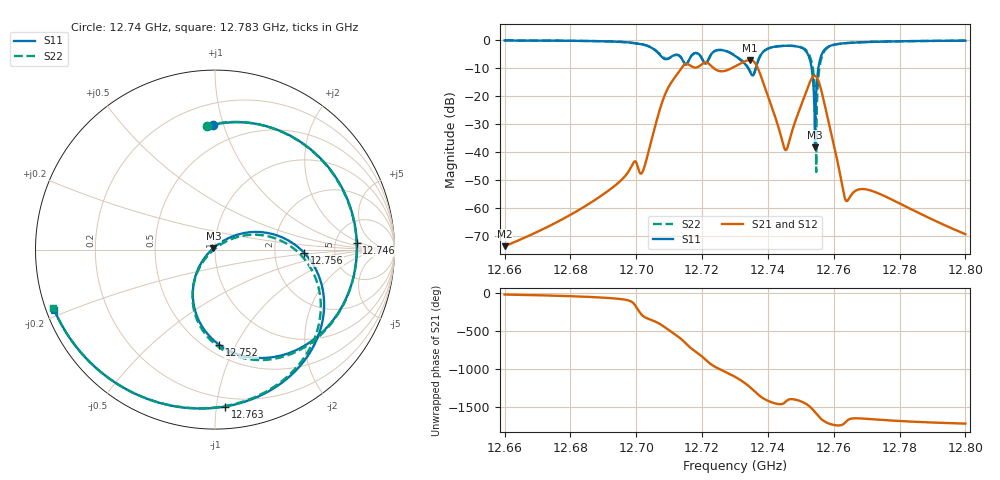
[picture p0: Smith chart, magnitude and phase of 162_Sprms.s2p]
! TOUCHSTONE file generated by CST MICROWAVE STUDIO
! Date and time: Wed Jul 31 19:02:27 2024
! Project name: WaveGuide_BPF-Ver4.1_U-shape_Ku_T3_C4_CWA_2.cst
! Parameters = {cavity_h=16; cavity_l0=10; cavity_l1=15.1788; cavity_l2=16.8468; cavity_l3=17.0992; cavity_l4=17.2289; cavity_l5=17.1523; cavity_l6=17.6355; cavity_r=2.5; cavity_screw_l=0.5; cavity_screw_r=1.5; cavity_w=8; iris_h00=0; iris_h01=8.8103; iris_h112=0; iris_h12=5.5925; iris_h211=3.6533; 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
! Header version: 2018
! Port assignment regex: !\s*Touchstone port\s*([0-9]+)\s*=\s*(CST MWS port|CST DS port)\s*([0-9]+|Zmin|Zmax)\s*\(\"(.*)\"\)(\s*mode\s*([0-9]+))?.*
! Touchstone port assignment:
! Touchstone port 1 = CST MWS port 1 ("")
! Touchstone port 2 = CST MWS port 2 ("")
# GHz S RI R 50
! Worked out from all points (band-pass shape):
!   5001 points, 12.66 GHz to 12.8 GHz, reference 50 ohm
!   highest |S21| = -7.13 dB at 12.735 GHz (marker M1); lowest = -73.8 dB at 12.66 GHz (marker M2)
!   |S21| within 3 dB of the highest: 12.71365 GHz to 12.72361 GHz (9.963 MHz wide, 0.0783 % of centre); 12.72886 GHz to 12.73696 GHz (8.103 MHz wide, 0.0636 % of centre)
!   lowest |S11| = -38.3 dB at 12.754 GHz (marker M3), VSWR 1.02, Z = 49.1 + j0.795 ohm
!   |S11| at or under -10 dB: 12.73396 GHz to 12.73635 GHz (2.384 MHz wide, 0.0187 % of centre); 12.75328 GHz to 12.75533 GHz (2.044 MHz wide, 0.016 % of centre)
!   |S22| runs from -47.2 to -0.1 dB; largest |S21 - S12| = 1e-09
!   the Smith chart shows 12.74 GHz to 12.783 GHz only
!   S11 on the Smith chart (normalised r, x): 12.74 GHz: 0.34, +0.92; 12.746 GHz: 8.29, +1.54; 12.752 GHz: 0.58, -0.86; 12.756 GHz: 2.98, -0.15; 12.763 GHz: 0.14, -1.06; 12.783 GHz: 0.02, -0.18
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12.66  0.2231 0.9585  0.000195 -5.98e-05  0.000195 -5.98e-05  0.224 0.9581
12.68335  0.5949 0.7617  0.000698 -0.000671  0.000698 -0.000671  0.5995 0.7577
12.70077  0.8581 -0.0503  -0.00281 0.00373  -0.00281 0.00373  0.8582 -0.0633
12.70668  0.0505 -0.581  0.0387 -0.0243  0.0387 -0.0243  0.0635 -0.595
12.70936  -0.4553 0.0189  -0.0376 -0.1225  -0.0376 -0.1225  -0.4627 -0.0286
12.7123  0.0371 0.5467  -0.2294 0.0696  -0.2294 0.0696  -0.00574 0.5408
12.71631  0.2013 0.4304  0.3484 0.0596  0.3484 0.0596  0.1947 0.434
12.7197  0.467 0.1746  -0.0711 -0.3539  -0.0711 -0.3539  0.4634 0.1734
12.72499  0.6629 -0.0488  0.00106 0.2813  0.00106 0.2813  0.6619 -0.0522
12.73  -0.0782 -0.5161  0.3219 -0.1052  0.3219 -0.1052  -0.0706 -0.5257
12.73456  -0.2296 0.1451  -0.3953 -0.1932  -0.3953 -0.1932  -0.2484 0.125
12.73669  -0.3301 0.1707  -0.1744 0.2888  -0.1744 0.2888  -0.3442 0.1517
12.7398  -0.0115 0.6947  0.0921 0.0543  0.0921 0.0543  -0.0463 0.6897
12.7463  0.7905 0.0349  0.0105 0.00951  0.0105 0.00951  0.7884 0.0514
12.75232  0.0236 -0.5305  0.1244 -0.0888  0.1244 -0.0888  0.0743 -0.5751
12.75335  -0.123 -0.2706  0.0507 -0.2015  0.0507 -0.2015  -0.1075 -0.3708
12.7543  -0.00903 0.00809  -0.1225 -0.1936  -0.1225 -0.1936  -0.08 -0.0893
12.75607  0.4977 -0.019  -0.1203 0.0627  -0.1203 0.0627  0.43 0.0125
12.76318  0.0552 -0.8746  5.06e-05 0.00163  5.06e-05 0.00163  0.0366 -0.8749
12.77668  -0.7674 -0.549  -0.00094 0.00115  -0.00094 0.00115  -0.7768 -0.5372
12.78278  -0.8961 -0.3347  -0.000406 0.000898  -0.000406 0.000898  -0.9008 -0.3239
12.8  -0.9692 0.1117  1.92e-05 0.000334  1.92e-05 0.000334  -0.969 0.1171
